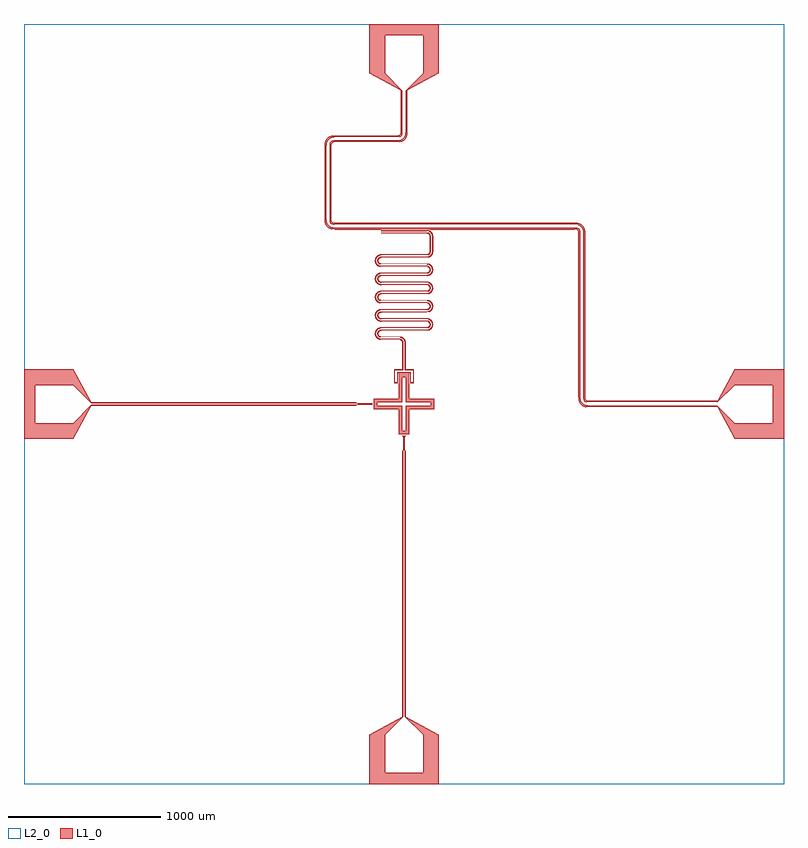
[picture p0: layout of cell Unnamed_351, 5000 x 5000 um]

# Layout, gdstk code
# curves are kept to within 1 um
import gdstk
lib = gdstk.Library(unit=1e-6, precision=1e-09)
def R(c, l, rs):  # rectangles x0, y0, x1, y1
    for r in rs: c.add(gdstk.rectangle(r[:2], r[2:], *l))
def P(c, l, *ps):  # polygons
    for p in ps: c.add(gdstk.Polygon(p, *l))
L1_0 = (1, 0)
L2_0 = (2, 0)

unnamed_351 = lib.new_cell('Unnamed_351')
P(unnamed_351, L1_0, [(-228,-2500),(-228,-2177),(-10,-2057),(-10,-312),(-4,-302),(-5,-215),(-2,-215),(-2,-302),(-5,-312),(-5,-2057),(-125,-2177),(-125,-2427),(125,-2427),(125,-2177),(5,-2057),(5,-312),(2,-302),(2,-211),(-11,-211),(-11,-209),(13,-209),(13,-211),(4,-211),(4,-302),(10,-312),(10,-2057),(228,-2177),(228,-2500)],
  [(-36,-199),(-36,-36),(-199,-36),(-199,36),(-36,36),(-36,175),(-12,175),(-12,12),(-175,12),(-175,-12),(-12,-12),(-12,-175),(12,-175),(12,-12),(175,-12),(175,12),(12,12),(12,175),(-36,175),(-36,199),(36,199),(36,36),(199,36),(199,-36),(36,-36),(36,-199)],
  [(-2500,-228),(-2500,125),(-2427,125),(-2427,-125),(-2177,-125),(-2057,-5),(-316,-5),(-305.5,-2.5),(-212,-2.5),(-212,2.5),(-305.5,2.5),(-316,5),(-2057,5),(-2177,125),(-2500,125),(-2500,228),(-2177,228),(-2057.55,11),(-316,11),(-305.5,5.5),(-209,5.5),(-209,-5.5),(-305.5,-5.5),(-316,-11),(-2057.55,-11),(-2177,-228)],
  [(-65,138),(-65,228),(-11.002,228),(-11.002,402.956),(-12.047,409.214),(-14.525,414.021),(-18.257,417.935),(-22.941,420.639),(-27.896,421.883),(-151.303,422.019),(-159.035,423.006),(-166.441,425.438),(-174.312,429.983),(-180.989,436.15),(-186.143,443.636),(-189.154,450.826),(-190.751,458.455),(-190.751,467.545),(-189.154,475.174),(-185.51,483.501),(-180.121,490.82),(-172.169,497.493),(-162.796,501.954),(-152.602,503.919),(152.403,504.154),(160.269,507.017),(165.816,512.476),(168.708,519.701),(168.31,528.063),(165.816,533.524),(161.742,537.934),(156.496,540.853),(150.601,541.989),(-150.089,542),(-157.762,542.74),(-166.441,545.438),(-174.312,549.983),(-180.989,556.15),(-186.143,563.636),(-189.521,572.074),(-190.957,581.049),(-190.134,591.397),(-187.298,600.033),(-181.825,608.854),(-173.252,616.772),(-164.025,621.529),(-152.602,623.919),(152.403,624.154),(159.757,626.7),(165.474,631.98),(168.594,639.109),(168.594,646.891),(166.451,652.499),(162.666,657.159),(157.059,660.638),(151.203,661.96),(-150.089,662),(-157.762,662.74),(-166.441,665.438),(-174.312,669.983),(-180.989,676.15),(-186.143,683.636),(-189.521,692.074),(-190.957,701.049),(-190.586,708.835),(-188.303,717.633),(-183.401,726.783),(-175.347,735.229),(-166.441,740.562),(-155.192,743.672),(151.203,744.04),(158.704,746.113),(164.744,751.02),(168.31,757.937),(168.708,766.299),(166.451,772.499),(162.666,777.159),(157.059,780.638),(151.203,781.96),(-150.089,782),(-157.762,782.74),(-166.441,785.438),(-173.252,789.228),(-180.121,795.18),(-184.842,801.383),(-188.748,809.59),(-190.751,818.455),(-190.751,827.545),(-189.154,835.174),(-184.139,845.711),(-176.357,854.409),(-166.441,860.562),(-155.192,863.672),(151.203,864.04),(158.704,866.113),(164.744,871.02),(168.31,877.937),(168.803,885.704),(167.021,891.437),(163.109,896.75),(157.615,900.405),(151.203,901.96),(-150.089,902),(-157.762,902.74),(-165.241,904.936),(-172.169,908.507),(-178.296,913.326),(-184.139,920.289),(-187.82,927.159),(-190.38,935.88),(-190.957,944.951),(-189.848,952.666),(-184.842,964.617),(-176.357,974.409),(-166.441,980.562),(-153.899,983.816),(149.954,984),(157.338,985.476),(161.743,988.065),(165.298,991.735),(167.746,996.219),(168.912,1001.194),(168.938,1104.506),(167.281,1110.893),(163.539,1116.328),(157.891,1120.283),(151.504,1121.94),(-150.002,1122),(-150.002,1128),(151.584,1127.95),(160.021,1125.903),(167.535,1120.817),(172.571,1113.745),(174.885,1105.376),(174.844,1000.229),(173.352,994.078),(170.13,988.177),(165.762,983.596),(160.021,980.097),(150.395,978.003),(-153.329,977.842),(-164.035,975.064),(-172.5,969.812),(-179.743,961.453),(-184.016,951.252),(-184.963,944.665),(-184.471,936.922),(-182.698,930.509),(-179.743,924.547),(-174.947,918.448),(-169.849,914.171),(-164.035,910.936),(-156.626,908.632),(-150.042,908),(151.584,907.949),(160.021,905.902),(167.25,901.093),(172.034,894.806),(174.743,886.558),(174.293,877.106),(169.892,867.86),(162.84,861.551),(153.948,858.315),(-152.222,857.93),(-161.973,855.89),(-171.638,850.512),(-178.513,843.302),(-183.424,833.392),(-184.893,825.774),(-184.787,819.121),(-183.078,811.552),(-179.743,804.547),(-174.947,798.448),(-169.849,794.171),(-164.035,790.936),(-156.626,788.632),(-150.042,788),(151.584,787.949),(159.289,786.209),(166.667,781.631),(171.648,775.5),(174.618,767.341),(174.293,757.106),(170.362,748.499),(163.514,741.969),(153.948,738.315),(-152.222,737.93),(-161.973,735.89),(-170.754,731.185),(-177.854,724.197),(-182.698,715.491),(-184.646,707.981),(-184.893,700.226),(-183.737,693.673),(-180.853,686.47),(-176.454,680.079),(-170.754,674.815),(-164.035,670.936),(-156.626,668.632),(-150.042,668),(151.584,667.949),(159.289,666.209),(166.067,662.151),(171.241,656.18),(174.467,648.12),(174.467,637.88),(170.362,628.499),(162.84,621.551),(153.163,618.202),(-152.222,617.93),(-161.973,615.89),(-169.849,611.829),(-176.454,605.921),(-181.84,597.54),(-184.261,590.168),(-184.998,582.445),(-184.016,574.748),(-181.362,567.457),(-176.454,560.079),(-170.754,554.815),(-164.035,550.936),(-156.626,548.632),(-150.042,548),(151.584,547.949),(159.289,546.209),(165.452,542.651),(170.812,536.848),(174.093,529.662),(174.969,524.19),(174.618,518.659),(170.812,509.152),(163.514,501.969),(158.548,499.508),(153.163,498.202),(-152.222,497.93),(-159.863,496.583),(-167.981,493.03),(-174.947,487.552),(-179.743,481.453),(-183.078,474.448),(-184.787,466.879),(-184.787,459.121),(-183.078,451.552),(-179.743,444.547),(-174.947,438.448),(-168.925,433.556),(-163.01,430.507),(-151.112,428.017),(-26.837,427.799),(-20.343,426.059),(-14.238,422.404),(-9.41,417.176),(-6.377,411.177),(-5.005,403.397),(-5.002,223),(-60,223),(-60,143),(-45,143),(-45,208),(45,208),(45,143),(60,143),(60,223),(4.998,223),(4.994,403.555),(3.251,413.921),(-1.173,422.847),(-7.504,429.812),(-15.462,434.837),(-24.472,437.561),(-149.962,438),(-158.552,439.508),(-163.518,441.969),(-167.819,445.464),(-171.245,449.82),(-173.626,454.824),(-174.847,460.229),(-174.847,465.771),(-173.626,471.176),(-171.245,476.18),(-167.254,481.093),(-162.157,484.846),(-157.045,486.987),(-150.795,487.987),(155.528,488.439),(161.969,490.11),(168.921,493.556),(174.943,498.448),(179.138,503.612),(182.694,510.509),(184.467,516.922),(184.959,524.665),(184.012,531.252),(179.739,541.453),(172.496,549.812),(164.031,555.064),(153.325,557.842),(-154.733,558.452),(-160.747,560.427),(-165.456,563.349),(-169.405,567.237),(-172.401,571.899),(-174.297,577.106),(-174.998,582.603),(-174.297,588.894),(-172.401,594.101),(-168.895,599.371),(-163.518,604.031),(-157.045,606.987),(-150.795,607.987),(155.528,608.439),(161.969,610.11),(167.977,612.97),(173.335,616.915),(178.509,622.698),(181.836,628.46),(184.257,635.832),(184.994,642.445),(184.257,650.168),(180.309,660.5),(173.335,669.085),(164.031,675.064),(153.325,677.842),(-153.952,678.315),(-159.293,679.791),(-164.178,682.409),(-168.366,686.038),(-171.652,690.5),(-173.874,695.577),(-174.923,701.019),(-174.747,706.558),(-173.355,711.922),(-169.896,718.14),(-164.824,723.131),(-158.552,726.492),(-151.588,727.949),(155.528,728.439),(161.969,730.11),(167.977,732.97),(173.335,736.915),(178.509,742.698),(181.836,748.46),(184.257,755.832),(184.994,762.445),(184.467,769.078),(180.849,779.53),(173.335,789.085),(164.031,795.064),(153.325,797.842),(-153.952,798.315),(-163.518,801.969),(-167.819,805.464),(-171.245,809.82),(-174.747,819.442),(-174.923,824.981),(-173.874,830.423),(-170.816,836.848),(-165.456,842.651),(-159.293,846.209),(-151.588,847.949),(155.528,848.439),(161.969,850.11),(167.977,852.97),(173.335,856.915),(178.509,862.698),(181.836,868.46),(184.012,874.748),(184.959,881.335),(184.642,887.981),(181.358,898.543),(174.151,908.331),(165.041,914.603),(153.325,917.842),(-153.952,918.315),(-163.518,921.969),(-170.816,929.152),(-174.622,938.659),(-174.297,948.894),(-171.245,956.18),(-166.071,962.151),(-159.293,966.209),(-151.588,967.949),(150.553,968.004),(157.709,968.86),(164.031,970.936),(171.634,975.488),(177.51,981.364),(182.062,988.967),(184.559,997.47),(184.888,1105.774),(182.062,1117.033),(175.329,1127.153),(165.54,1134.36),(153.877,1137.785),(-150.002,1138),(-150.002,1144),(150.042,1144),(159.031,1142.993),(171.059,1138.178),(180.984,1129.85),(187.815,1118.84),(190.916,1105.6),(190.581,997.165),(188.298,988.368),(184.134,980.289),(178.291,973.327),(171.059,967.822),(161.549,963.66),(150.649,962.005),(-151.207,961.96),(-157.063,960.638),(-162.67,957.159),(-166.455,952.499),(-168.598,946.891),(-168.598,939.109),(-165.12,931.494),(-158.708,926.113),(-151.207,924.04),(156.476,923.486),(168.786,919.443),(179.219,911.761),(186.735,901.207),(190.582,888.835),(190.953,881.049),(189.844,873.334),(187.294,865.967),(183.397,859.217),(178.292,853.326),(172.165,848.507),(164.021,844.471),(156.476,842.514),(-150.605,841.989),(-156.5,840.853),(-161.266,838.299),(-165.478,834.02),(-167.956,829.214),(-168.884,820.894),(-166.146,812.983),(-160.273,807.017),(-151.808,804.087),(156.476,803.486),(168.786,799.443),(179.219,791.761),(186.735,781.207),(190.582,768.835),(190.953,761.049),(189.844,753.334),(187.294,745.967),(183.397,739.217),(178.292,733.326),(172.165,728.507),(164.021,724.471),(156.476,722.514),(-150.605,721.989),(-155.93,721.05),(-160.775,718.649),(-164.748,714.98),(-167.525,710.34),(-168.941,701.494),(-166.146,692.983),(-160.273,687.017),(-151.808,684.087),(156.476,683.486),(167.62,680.021),(178.292,672.674),(186.139,662.364),(190.376,650.12),(190.953,641.049),(189.844,633.334),(187.294,625.967),(183.397,619.217),(178.292,613.326),(172.165,608.507),(164.021,604.471),(156.476,602.514),(-150.605,601.989),(-155.355,601.229),(-160.273,598.983),(-163.958,595.891),(-167.025,591.437),(-168.598,586.891),(-168.979,582.096),(-166.455,573.501),(-160.273,567.017),(-151.808,564.087),(156.476,563.486),(167.62,560.021),(178.292,552.674),(186.139,542.364),(190.13,531.397),(190.994,523.651),(190.13,514.603),(187.816,507.159),(183.397,499.217),(178.292,493.326),(172.165,488.507),(164.021,484.471),(156.476,482.514),(-150.605,481.989),(-159.239,479.602),(-165.82,473.524),(-168.884,465.106),(-167.956,456.786),(-163.113,449.25),(-155.93,444.95),(-149.915,444),(-22.882,443.377),(-11.795,439.736),(-2.664,433.556),(4.49,425.166),(9.338,414.551),(10.993,403.651),(10.998,228),(65,228),(65,138),(40,138),(40,203),(-40,203),(-40,138)],
  [(2177,-228),(2063.605,-22),(1212.179,-21.928),(1196.058,-20.274),(1182.474,-15.952),(1170.405,-8.537),(1160.523,1.612),(1151.042,20.648),(1148.022,44.768),(1148,1121.319),(1146.981,1135.996),(1159.196,1135.996),(1159.96,1126.093),(1160.011,45.899),(1162.349,24.77),(1170.09,8.856),(1178.309,0.511),(1188.233,-5.38),(1199.52,-8.719),(1213.359,-9.953),(2062,-10),(2177,-125),(2427,-125),(2427,125),(2177,125),(2062,10),(1215.679,10.014),(1199.026,11.934),(1188.11,18.52),(1181.846,29.317),(1180.014,45.679),(1179.375,1135.996),(1191.442,1135.996),(1192.002,47.654),(1192.766,35.238),(1195.449,28.379),(1202.596,23.391),(1216.407,22.008),(2063.605,22),(2177,228),(2500,228),(2500,-228)],
  [(1179.375,1135.996),(1174.362,1153.96),(1163.295,1168.176),(1148.103,1176.781),(1128.221,1179.911),(-452.903,1180.004),(-470.39,1181.761),(-481.342,1187.976),(-488.125,1199.22),(-489.994,1216.709),(-489.986,1698.321),(-488.857,1711.856),(-485.379,1720.998),(-480.778,1726.551),(-474.884,1730.538),(-459.167,1733.859),(-43.359,1734.047),(-24.132,1736.526),(-9.132,1743.882),(-1.268,1751.366),(4.514,1760.35),(8.094,1770.519),(9.765,1782.553),(10,2062),(125,2177),(125,2427),(-228,2427),(-228,2500),(228,2500),(228,2177),(22,2063.605),(21.602,1779.808),(19.015,1764.845),(13.887,1752.378),(5.829,1741.26),(-4.643,1732.379),(-20.845,1724.985),(-40.921,1722.111),(-455.27,1721.973),(-467.862,1720.464),(-474.61,1715.539),(-477.192,1708.989),(-477.992,1697.593),(-477.998,1217.654),(-476.981,1204.004),(-473.093,1196.692),(-465.857,1192.987),(-452.346,1192.002),(1129.079,1191.889),(1143.564,1190.349),(1155.924,1186.652),(1166.801,1180.637),(1176.418,1172.094),(1186.736,1155.723),(1191.442,1135.996)],
  [(1146.981,1135.996),(1144.491,1141.703),(1139.941,1145.592),(1123.593,1147.992),(-456.284,1148.038),(-470.582,1149.132),(-482.719,1152.116),(-493.511,1157.21),(-502.9,1164.32),(-511.501,1174.461),(-517.523,1186.282),(-520.868,1199.418),(-521.983,1215.213),(-521.936,1701.51),(-518.605,1724.534),(-508.944,1743.081),(-500.104,1752.125),(-489.497,1759.01),(-477.397,1763.489),(-463.511,1765.654),(-42.91,1766.069),(-29.307,1768.831),(-25.187,1772.752),(-22.956,1778.283),(-22,2063.605),(-228,2177),(-228,2427),(-125,2427),(-125,2177),(-10,2062),(-10.004,1791.097),(-11.209,1775.832),(-14.422,1767.333),(-20.322,1760.509),(-27.981,1756.275),(-38.109,1754.316),(-458.947,1753.886),(-471.424,1752.54),(-481.925,1749.311),(-491.281,1743.806),(-499.167,1736.098),(-507.191,1720.826),(-509.953,1700.641),(-509.989,1215.899),(-509.144,1202.173),(-506.506,1191.099),(-501.701,1181.397),(-494.962,1173.328),(-486.843,1167.204),(-477.784,1163.113),(-454.101,1160.011),(1126.593,1159.949),(1142.483,1157.559),(1153.06,1150.198),(1156.983,1143.921),(1159.196,1135.996)])
R(unnamed_351, L2_0, [(-2500,-2500,2500,2500)])

lib.write_gds('Unnamed_351.gds')
